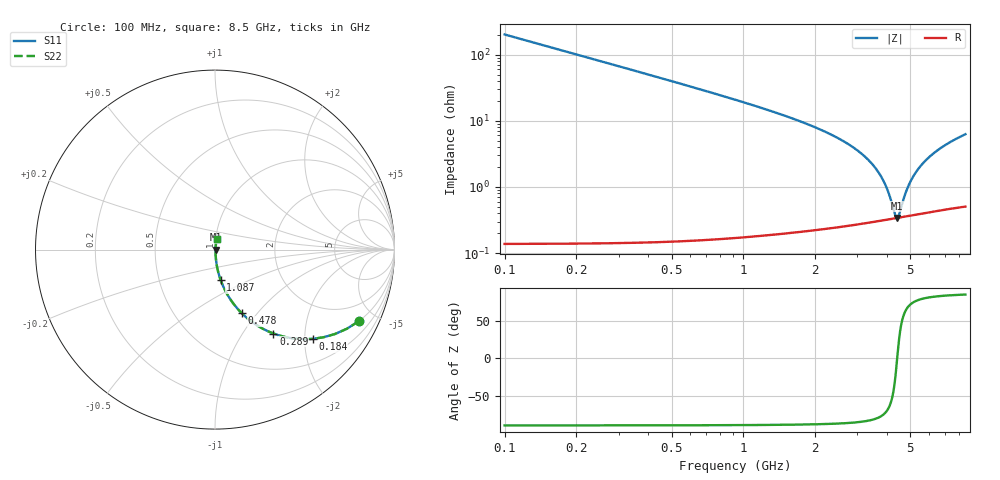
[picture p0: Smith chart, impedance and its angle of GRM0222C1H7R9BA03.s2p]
!Murata Part Number: GRM0222C1H7R9BA03
!These Parameters are Measured in Series Mode Connection
!Data Generated on Mar 30, 2021
!  o--ll--o
!Port1  Port2
!  o------o
!Operation Temp=25[degC], DC Bias Voltage=0[V]
!Freq. Start=100[MHz] Stop=9[GHz] 401[Steps]
# Hz S RI R 50
!Freq.(Hz) S11(Real) S11(Imag) S21(Real) S21(Imag) S12(Real) S12(Imag) S22(Real) S22(Imag)
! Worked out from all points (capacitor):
!   401 points, 100 MHz to 8.5 GHz, reference 50 ohm
!   read as one part in series: C = 7.9 pF near 142 MHz
!   lowest |Z| = 341 mohm at 4.405 GHz (marker M1)
!   series resonance near 4.404 GHz, so ESL is about 170 pH
!   S11 on the Smith chart (normalised r, x): 100 MHz: 1.00, -4.03; 184 MHz: 1.00, -2.19; 289 MHz: 1.00, -1.39; 478 MHz: 1.00, -0.83; 1.087 GHz: 1.00, -0.35; 8.5 GHz: 1.01, +0.12
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1e8  0.802 -0.3982  0.198 0.3982  0.198 0.3982  0.802 -0.3982
1.84e8  0.5442 -0.4974  0.4558 0.4974  0.4558 0.4974  0.5442 -0.4974
2.89e8  0.3253 -0.4675  0.6747 0.4675  0.6747 0.4675  0.3253 -0.4675
3.73e8  0.2238 -0.4154  0.7762 0.4154  0.7762 0.4154  0.2238 -0.4154
4.78e8  0.1485 -0.3539  0.8515 0.3539  0.8515 0.3539  0.1485 -0.3539
7.09e8  0.0722 -0.256  0.9278 0.256  0.9278 0.256  0.0722 -0.256
1.087e9  0.0309 -0.1679  0.9691 0.1679  0.9691 0.1679  0.0309 -0.1679
1.507e9  0.0155 -0.1155  0.9845 0.1155  0.9845 0.1155  0.0155 -0.1155
2.914e9  0.00412 -0.0382  0.9959 0.0382  0.9959 0.0382  0.00412 -0.0382
3.397e9  0.00345 -0.0236  0.9965 0.0236  0.9965 0.0236  0.00345 -0.0236
3.775e9  0.00328 -0.0139  0.9967 0.0139  0.9967 0.0139  0.00328 -0.0139
4.027e9  0.00327 -0.00801  0.9967 0.00801  0.9967 0.00801  0.00327 -0.00801
4.3e9  0.00335 -0.00213  0.9967 0.00213  0.9967 0.00213  0.00335 -0.00213
4.405e9  0.0034 2.87e-05  0.9966 -2.87e-05  0.9966 -2.87e-05  0.0034 2.87e-05
4.489e9  0.00344 0.00171  0.9966 -0.00171  0.9966 -0.00171  0.00344 0.00171
4.783e9  0.00363 0.00737  0.9964 -0.00737  0.9964 -0.00737  0.00363 0.00737
4.993e9  0.0038 0.0112  0.9962 -0.0112  0.9962 -0.0112  0.0038 0.0112
5.308e9  0.0041 0.0167  0.9959 -0.0167  0.9959 -0.0167  0.0041 0.0167
5.707e9  0.00454 0.0232  0.9955 -0.0232  0.9955 -0.0232  0.00454 0.0232
6.316e9  0.00532 0.0325  0.9947 -0.0325  0.9947 -0.0325  0.00532 0.0325
7.114e9  0.00649 0.0438  0.9935 -0.0438  0.9935 -0.0438  0.00649 0.0438
8.5e9  0.00885 0.0616  0.9912 -0.0616  0.9912 -0.0616  0.00885 0.0616
